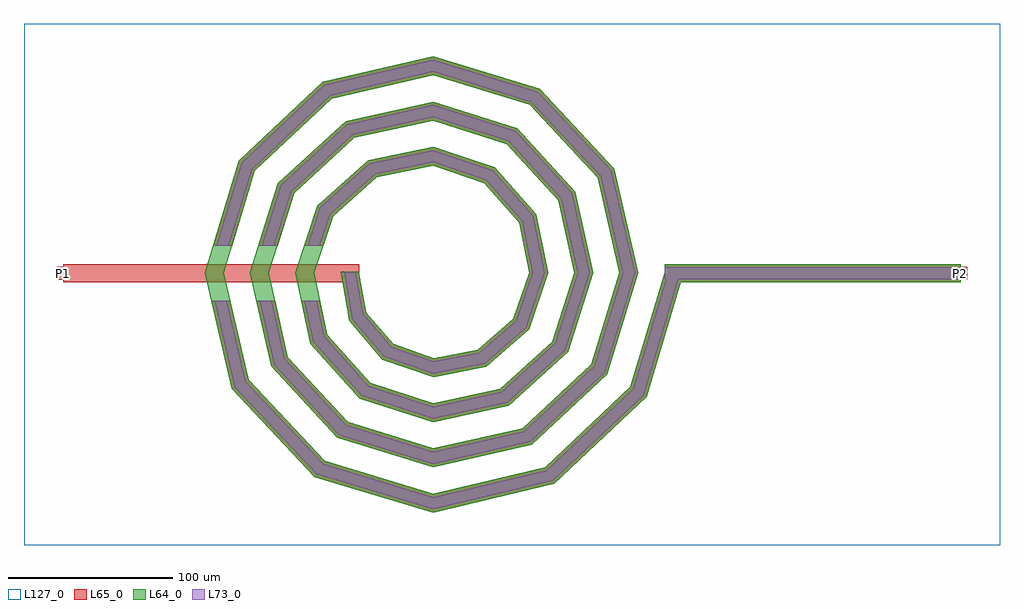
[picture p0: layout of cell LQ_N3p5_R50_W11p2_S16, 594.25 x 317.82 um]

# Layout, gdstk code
import gdstk
lib = gdstk.Library(unit=1e-6, precision=1e-09)
def R(c, l, rs):  # rectangles x0, y0, x1, y1
    for r in rs: c.add(gdstk.rectangle(r[:2], r[2:], *l))
def P(c, l, *ps):  # polygons
    for p in ps: c.add(gdstk.Polygon(p, *l))
L64_0 = (64, 0)
L65_0 = (65, 0)
L73_0 = (73, 0)
L127_0 = (127, 0)

lq_n3p5_r50_w11p2_s16 = lib.new_cell('LQ_N3p5_R50_W11p2_S16')
R(lq_n3p5_r50_w11p2_s16, L64_0, [(141.27,-5.6,321.27,5.6)])
P(lq_n3p5_r50_w11p2_s16, L64_0, [(-40.544,-23.948),(-24.3,-42.987),(0.431,-51.669),(27.339,-46.524),(48.916,-27.781),(58.545,0.385),(52.5,30.74),(31.253,54.851),(0.348,65.421),(-34.148,58.473),(-60.79,34.72),(-72.298,0.317),(-64.443,-37.562),(-38.182,-66.732),(0.292,-79.175),(40.979,-70.411),(72.676,-41.64),(86.052,0.27),(76.377,44.4),(45.096,78.622),(0.251,92.929),(-47.823,82.342),(-84.57,48.549),(-99.807,0.235),(-88.306,-51.249),(-52.001,-90.519),(0.22,-106.685),(54.676,-94.269),(96.468,-55.452),(113.563,0.208),(100.232,58.104),(58.901,102.419),(0.196,120.44),(-61.534,106.193),(-108.37,62.349),(-127.318,0.186),(-112.155,-64.964),(-65.796,-114.322),(0.177,-134.196),(68.395,-118.116),(120.274,-69.242),(141.505,1.607),(152.234,-1.607),(130.14,-75.335),(73.889,-128.328),(0.177,-145.787),(-71.903,-124.179),(-122.375,-70.442),(-138.908,0.186),(-118.218,68.472),(-66.994,116.423),(0.196,132.03),(65.042,112.255),(110.472,63.546),(125.151,0.208),(106.293,-61.613),(60.096,-104.521),(0.22,-118.273),(-58.185,-100.329),(-98.571,-56.644),(-111.394,0.235),(-94.364,54.758),(-53.192,92.621),(0.251,104.515),(51.334,88.399),(86.673,49.737),(97.636,0.27),(82.431,-47.911),(46.279,-80.726),(0.292,-90.757),(-44.492,-76.462),(-74.78,-42.818),(-83.878,0.317),(-70.491,41.075),(-39.354,68.837),(0.348,76.998),(37.664,64.517),(62.896,35.884),(70.118,0.385),(58.538,-34.258),(32.406,-56.958),(0.431,-63.237),(-30.86,-52.554),(-51.026,-28.919),(-56.085,0.999),(-45.065,0.999)])
R(lq_n3p5_r50_w11p2_s16, L65_0, [(-224.975,-5.6,-44.975,5.6), (141.27,-5.6,321.27,5.6), (-228.975,-4,-220.975,4), (317.27,-4,325.27,4)])
P(lq_n3p5_r50_w11p2_s16, L65_0, [(-112.155,-64.964),(-65.796,-114.322),(0.177,-134.196),(68.395,-118.116),(120.274,-69.242),(141.505,1.608),(152.234,-1.608),(130.141,-75.335),(73.889,-128.328),(0.177,-145.787),(-71.903,-124.179),(-122.375,-70.442),(-134.932,-16.8),(-123.429,-16.8)],
  [(-88.306,-51.249),(-52.001,-90.519),(0.22,-106.685),(54.676,-94.269),(96.469,-55.452),(113.563,0.208),(100.232,58.104),(58.901,102.419),(0.196,120.44),(-61.534,106.193),(-108.37,62.349),(-122.171,16.8),(-133.874,16.8),(-118.218,68.472),(-66.994,116.423),(0.196,132.03),(65.042,112.256),(110.472,63.546),(125.151,0.208),(106.293,-61.613),(60.096,-104.521),(0.22,-118.273),(-58.185,-100.329),(-98.571,-56.645),(-107.554,-16.8),(-96.072,-16.8)],
  [(-64.443,-37.562),(-38.182,-66.732),(0.292,-79.175),(40.98,-70.411),(72.676,-41.64),(86.052,0.27),(76.377,44.4),(45.096,78.622),(0.251,92.929),(-47.824,82.342),(-84.57,48.549),(-94.487,16.8),(-106.22,16.8),(-94.364,54.758),(-53.192,92.621),(0.251,104.515),(51.334,88.399),(86.673,49.737),(97.636,0.27),(82.431,-47.911),(46.279,-80.726),(0.292,-90.757),(-44.492,-76.462),(-74.78,-42.819),(-80.268,-16.8),(-68.821,-16.8)],
  [(-24.3,-42.987),(0.431,-51.669),(27.339,-46.524),(48.916,-27.781),(58.545,0.385),(52.5,30.74),(31.253,54.851),(0.348,65.421),(-34.148,58.473),(-60.79,34.72),(-66.676,16.8),(-78.464,16.8),(-70.491,41.075),(-39.354,68.837),(0.348,76.998),(37.664,64.516),(62.896,35.884),(70.118,0.385),(58.538,-34.258),(32.407,-56.959),(0.431,-63.237),(-30.86,-52.554),(-51.026,-28.919),(-56.085,0.999),(-45.065,0.999),(-40.544,-23.949)])
R(lq_n3p5_r50_w11p2_s16, L73_0, [(141.27,-3.6,321.27,3.6)])
P(lq_n3p5_r50_w11p2_s16, L73_0, [(-113.98,-65.942),(-66.886,-116.082),(0.114,-136.266),(69.376,-119.939),(122.036,-70.33),(143.421,1.033),(150.318,-1.033),(128.379,-74.247),(72.908,-126.504),(0.114,-143.717),(-70.812,-122.419),(-120.55,-69.464),(-132.878,-16.8),(-125.483,-16.8)],
  [(-90.139,-52.212),(-53.105,-92.271),(0.142,-108.754),(55.644,-96.1),(98.223,-56.552),(115.632,0.134),(102.06,59.076),(59.997,104.176),(0.126,122.51),(-62.509,108.02),(-110.129,63.442),(-124.261,16.8),(-131.785,16.8),(-116.459,67.378),(-66.019,114.597),(0.126,129.96),(63.945,110.499),(108.643,62.574),(123.082,0.134),(104.538,-60.512),(59.128,-102.69),(0.142,-116.203),(-57.081,-98.577),(-96.738,-55.681),(-105.503,-16.8),(-98.123,-16.8)],
  [(-66.289,-38.501),(-39.308,-68.469),(0.188,-81.243),(41.926,-72.253),(74.418,-42.76),(88.121,0.174),(78.215,45.353),(46.21,80.368),(0.161,94.998),(-48.782,84.178),(-86.319,49.658),(-96.582,16.8),(-104.125,16.8),(-92.615,53.65),(-52.233,90.786),(0.161,102.446),(50.22,86.653),(84.834,48.784),(95.568,0.174),(80.689,-46.791),(45.333,-78.884),(0.188,-88.689),(-43.365,-74.725),(-72.934,-41.88),(-78.224,-16.8),(-70.865,-16.8)],
  [(-25.472,-44.695),(0.277,-53.735),(28.244,-48.388),(50.634,-28.937),(60.611,0.248),(54.357,31.659),(32.398,56.577),(0.224,67.488),(-35.078,60.324),(-62.522,35.855),(-68.781,16.8),(-76.359,16.8),(-68.759,39.94),(-38.424,66.986),(0.224,74.931),(36.519,62.791),(61.04,34.965),(68.051,0.248),(56.82,-33.101),(31.502,-55.095),(0.277,-61.171),(-29.689,-50.846),(-49.154,-28.032),(-54.117,0.642),(-47.033,0.642),(-42.416,-24.836)])
R(lq_n3p5_r50_w11p2_s16, L127_0, [(-248.975,-165.787,345.27,152.03)])
lq_n3p5_r50_w11p2_s16.add(gdstk.Label('P2', (321.27,0), layer=65, texttype=0))
lq_n3p5_r50_w11p2_s16.add(gdstk.Label('P1', (-224.975,0), layer=65, texttype=0))
lq_n3p5_r50_w11p2_s16.add(gdstk.Label('P2', (325.27,0), layer=145, texttype=0))
lq_n3p5_r50_w11p2_s16.add(gdstk.Label('P1', (-228.975,0), layer=145, texttype=0))

lib.write_gds('LQ_N3p5_R50_W11p2_S16.gds')
